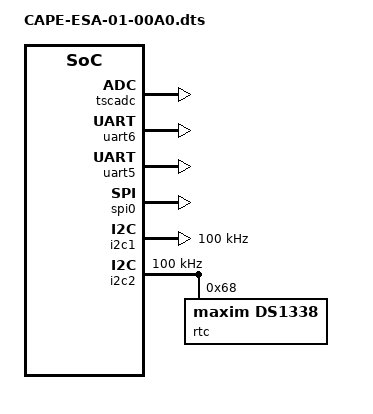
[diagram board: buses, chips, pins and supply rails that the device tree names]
/*
* Jacob Yacovelli
*
* ESA cape
*/
/dts-v1/;
/plugin/;

/*
 * Pin assignments
 *
 * Module        Connector
 * SWDRVA        P8.07
 * SWDRVB        P8.08
 * LNA_PWR_CTRL  P8.09
 * GP_LED0       P8.10
 * GP_LED1       P8.11
 * DACLDAC       P8.12
 * DACBUSY       P8.13
 * UART-4-TX-EN  P8.14
 * UART-5-TX     P8.37
 * UART-5-RX     P8.38
 * UART-4-RX     P9.11
 * UART-4-TX     P9.13
 * DACSYNC       P9.17
 * DACMOSI       P9.18
 * I2C_SCL_CAPE  P9.19
 * I2C_SDA_CAPE  P9.20
 * DACMISO       P9.21
 * DACSCLK       P9.22
 * DACRESET      P9.23
 * I2C_SCL_ESA   P9.24
 * I2C_SDA_ESA   P9.26
 *
 */

/ {
	compatible = "ti,beaglebone-black";
	part-number = "CAPE-ESA-01";
	version = "00A0";

	/* state the resources this cape uses */
	exclusive-use =
		/* the pin header uses */
		"P8.07",    /* gpio:  gpio2_2 */
		"P8.08",    /* gpio:  gpio2_3 */
		"P8.09",    /* gpio:  gpio2_5 */
		"P8.10",    /* gpio:  gpio2_4 */
		"P8.11",    /* gpio:  gpio1_13 */
		"P8.12",    /* gpio:  gpio1_12 */
		"P8.13",    /* gpio:  gpio0_23 */
		"P8.14",    /* gpio:  gpio0_26 */
		"P8.37",    /* uart:  uart5_txd */
		"P8.38",    /* uart:  uart5_rxd */
		"P9.11",    /* uart:  uart4_rxd_mux2 */
		"P9.13",    /* uart:  uart4_txd_mux2 */
		"P9.17",    /* spi:   spi0_cs0 */
		"P9.18",    /* spi:   spi0_d1 */
		/*"P9.19",*/    /* i2c:   I2C2_SCL */
		/*"P9.20",*/    /* i2c:   I2C2_SDA */
		"P9.21",    /* spi:   spi0_d0 */
		"P9.22",    /* spi:   spi0_sclk */
		"P9.23",    /* gpio:  gpio1_17 */
		"P9.24",    /* i2c:   I2C1_SCL */
		"P9.26",    /* i2c:   I2C1_SDA */
		"P9.39",    /* AIN0 */
        "P9.40",    /* AIN1 */
        "P9.37",    /* AIN2 */
        "P9.38",    /* AIN3 */
        "P9.33",    /* AIN4 */
        "P9.36",    /* AIN5 */
        "P9.35",    /* AIN6 */

		/* the hardware IP uses */
		"gpio2_2",
		"gpio2_3",
		"gpio2_5",
		"gpio2_4",
		"gpio1_13",
		"gpio1_12",
		"gpio0_23",
		"gpio0_26",
		"uart5",
		"uart4",
		"spi0",
		"gpio1_17",
		"i2c1",
		"i2c2",
		"tscadc";

	fragment@0 {
		target = <&am33xx_pinmux>;
		__overlay__ {
			gpio_swdrv_pins: pinmux_gpio_swdrv_pins {
				pinctrl-single,pins = <
					0x090  0x07     /* gpio2_2 | OUTPUT | MODE7 */
					0x094  0x07     /* gpio2_3 | OUTPUT | MODE7 */
				>;
			};

			gpio_lna_pins: pinmux_gpio_lna_pins {
				pinctrl-single,pins = <
					0x09c  0x07     /* gpio2_5 | OUTPUT | MODE7 */
				>;
			};

			gpio_led_pins: pinmux_gpio_led_pins {
				pinctrl-single,pins = <
					0x098  0x07     /* gpio2_4 | OUTPUT | MODE7 */
					0x034  0x07     /* gpio1_13 | OUTPUT | MODE7 */
				>;
			};

			gpio_dac_pins: pinmux_gpio_dac_pins {
				pinctrl-single,pins = <
					0x030  0x07     /* gpio1_12 | OUTPUT | MODE7 */
					0x024  0x2F     /* gpio0_23 | INPUT  | MODE7 */
					0x044  0x07     /* gpio1_17 | OUTPUT | MODE7 */
				>;
			};

			gpio_uart4_pins: pinmux_gpio_uart4_pins {
				pinctrl-single,pins = <
					0x028  0x07     /* gpio0_26 | OUTPUT | MODE7 */
				>;
			};

			uart5_pins: pinmux_uart5_pins {
				pinctrl-single,pins = <
					0x0C0 0x04	    /* uart5_txd | MODE4 */
					0x0C4 0x24	    /* uart5_rxd | MODE4 */
				>;
			};

			uart4_pins: pinmux_uart4_pins {
				pinctrl-single,pins = <
					0x070 0x26	    /* uart4_rxd | MODE6 */
					0x074 0x06	    /* uart4_txd | MODE6 */
				>;
			};

			spi0_dac_pins: pinmux_spi0_dac_pins {
				pinctrl-single,pins = <
					0x15c 0x10	    /* spi0_cs0, OUTPUT_PULLUP | MODE0 */
					0x158 0x10	    /* spi0_d1, OUTPUT_PULLUP | MODE0 */
					0x154 0x30	    /* spi0_d0, INPUT_PULLUP | MODE0 */
					0x150 0x30	    /* spi0_sclk, INPUT_PULLUP | MODE0 */
				>;
			};

			i2c1_esa_pins: pinmux_i2c1_esa_pins {
				pinctrl-single,pins = <
					0x184 0x73	    /* i2c1_scl, SLEWCTRL_SLOW | INPUT_PULLUP | MODE3 */
					0x180 0x73	    /* i2c1_sda, SLEWCTRL_SLOW | INPUT_PULLUP | MODE3 */
				>;
			};

			i2c2_cape_pins: pinmux_i2c2_cape_pins {
				pinctrl-single,pins = <
					0x17c 0x73	    /* i2c2_scl, SLEWCTRL_SLOW | INPUT_PULLUP | MODE3 */
					0x178 0x73	    /* i2c2_sda, SLEWCTRL_SLOW | INPUT_PULLUP | MODE3 */
				>;
			};
		};
	};
	
	fragment@1 {
		target = <&ocp>;
		__overlay__ {
			swdrv_pinmux_helper {
				compatible = "bone-pinmux-helper";
				pinctrl-names = "default";
				pinctrl-0 = <&gpio_swdrv_pins>;
				status = "okay";
			};

			lna_pinmux_helper {
				compatible = "bone-pinmux-helper";
				pinctrl-names = "default";
				pinctrl-0 = <&gpio_lna_pins>;
				status = "okay";
			};

			led_pinmux_helper {
				compatible = "bone-pinmux-helper";
				pinctrl-names = "default";
				pinctrl-0 = <&gpio_led_pins>;
				status = "okay";
			};

			dac_pinmux_helper {
				compatible = "bone-pinmux-helper";
				pinctrl-names = "default";
				pinctrl-0 = <&gpio_dac_pins>;
				status = "okay";
			};

			uart4_pinmux_helper {
				compatible = "bone-pinmux-helper";
				pinctrl-names = "default";
				pinctrl-0 = <&gpio_uart4_pins>;
				status = "okay";
			};
		};
	};

	fragment@2 {
		target = <&uart6>;      /* really uart5 */
		__overlay__ {
			pinctrl-names = "default";
			pinctrl-0 = <&uart5_pins>;
			status = "okay";			
		};
	};

	fragment@3 {
		target = <&uart5>;      /* really uart4 */
		__overlay__ {
			pinctrl-names = "default";
			pinctrl-0 = <&uart4_pins>;
			status = "okay";
		};
	};

	fragment@4 {
		target = <&spi0>;       /* spi0 is numbered correctly */
		__overlay__ {
			#address-cells = <1>;
			#size-cells = <0>;

			pinctrl-names = "default";
			pinctrl-0 = <&spi0_dac_pins>;
			status = "okay";

			channel@0 {
				#address-cells = <1>;
				#size-cells = <0>;

				compatible = "spidev";

				reg = <0>;
				spi-max-frequency = <16000000>;
				spi-cpha;
			};

			channel@1 {
				#address-cells = <1>;
				#size-cells = <0>;

				compatible = "spidev";

				reg = <1>;
				spi-max-frequency = <16000000>;
			};
		};
	};

	fragment@5 {
		target = <&i2c1>;       /* i2c1 is numbered correctly */
		__overlay__ {
			status = "okay";
			pinctrl-names = "default";
			pinctrl-0 = <&i2c1_esa_pins>;

			/* this is the configuration part */
			clock-frequency = <100000>;     

			#address-cells = <1>;
			#size-cells = <0>;

			};
		};
	
	fragment@6 {
		target = <&i2c2>;       /* i2c2 is numbered correctly */
		__overlay__ {
			status = "okay";
			pinctrl-names = "default";
			pinctrl-0 = <&i2c2_cape_pins>;

			/* this is the configuration part */
			clock-frequency = <100000>;     

			#address-cells = <1>;
			#size-cells = <0>;


			/* MCP79410 RTC module */
			rtc@68 {
				compatible = "maxim,ds1338";
				reg = <0x68>;
			};
		};
	};

	fragment@7 {
		target = <&ocp>;
		__overlay__ {
			/* avoid stupid warning */
			#address-cells = <1>;
			#size-cells = <1>;

			tscadc {
				compatible = "ti,ti-tscadc";
				reg = <0x44e0d000 0x1000>;

				interrupt-parent = <&intc>;
				interrupts = <16>;
				ti,hwmods = "adc_tsc";
				status = "okay";

				adc {
					ti,adc-channels = <0 1 2 3 4 5 6 7>;
				};
			};

			test_helper: helper {
				compatible = "bone-iio-helper";
				vsense-name  = "AIN0", "AIN1", "AIN2", "AIN3", "AIN4", "AIN5", "AIN6", "AIN7";
				vsense-scale = <100     100     100     100     100     100     100     100>;
				status = "okay";
			};
		};
	};
};
